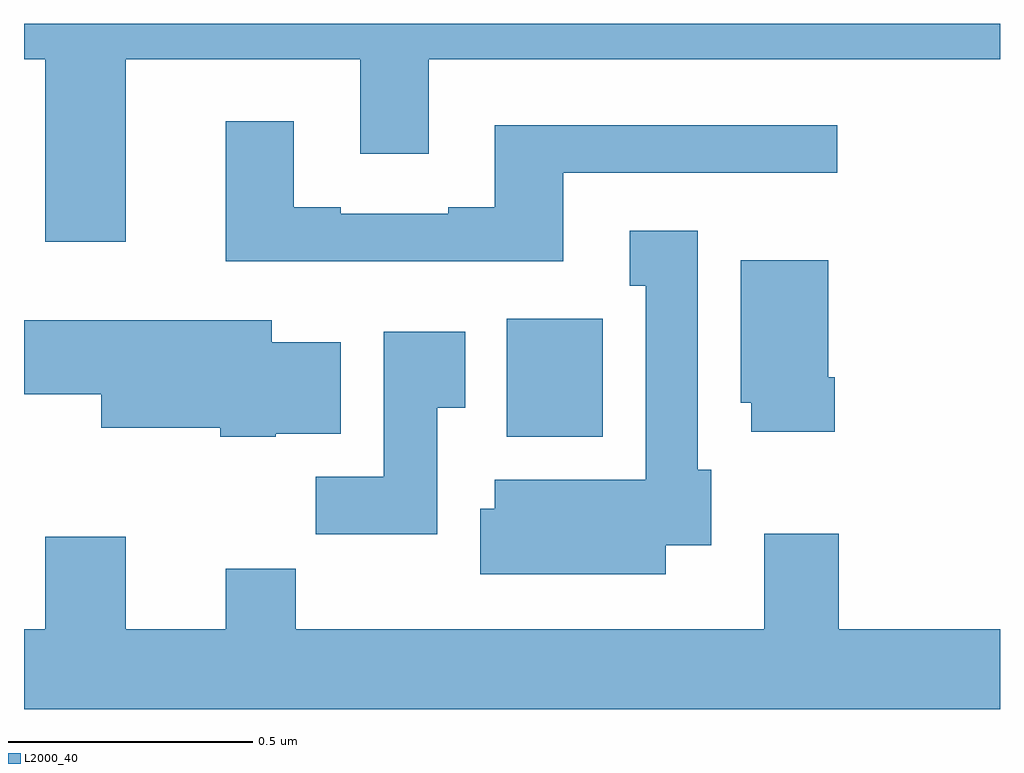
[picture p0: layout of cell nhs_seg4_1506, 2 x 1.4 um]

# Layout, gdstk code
import gdstk
lib = gdstk.Library(unit=1e-6, precision=1e-09)
def R(c, l, rs):  # rectangles x0, y0, x1, y1
    for r in rs: c.add(gdstk.rectangle(r[:2], r[2:], *l))
def P(c, l, *ps):  # polygons
    for p in ps: c.add(gdstk.Polygon(p, *l))
L2000_40 = (2000, 40)

nhs_seg4_1506 = lib.new_cell('nhs_seg4_1506')
R(nhs_seg4_1506, L2000_40, [(129.989,788.054,130.186,788.296)])
P(nhs_seg4_1506, L2000_40, [(129.208,788.828),(129.689,788.828),(129.689,788.634),(129.829,788.634),(129.829,788.828),(131,788.828),(131,788.9),(129,788.9),(129,788.828),(129.044,788.828),(129.044,788.454),(129.208,788.454)],
  [(130.105,788.595),(130.666,788.595),(130.666,788.692),(129.965,788.692),(129.965,788.524),(129.869,788.524),(129.869,788.511),(129.649,788.511),(129.649,788.524),(129.553,788.524),(129.553,788.701),(129.413,788.701),(129.413,788.414),(130.105,788.414)],
  [(130.315,787.832),(130.408,787.832),(130.408,787.986),(130.381,787.986),(130.381,788.476),(130.241,788.476),(130.241,788.363),(130.274,788.363),(130.274,787.966),(129.965,787.966),(129.965,787.907),(129.935,787.907),(129.935,787.772),(130.315,787.772)],
  [(130.661,788.176),(130.648,788.176),(130.648,788.416),(130.469,788.416),(130.469,788.124),(130.49,788.124),(130.49,788.064),(130.661,788.064)],
  [(129.516,788.06),(129.649,788.06),(129.649,788.248),(129.508,788.248),(129.508,788.293),(129,788.293),(129,788.141),(129.158,788.141),(129.158,788.072),(129.402,788.072),(129.402,788.054),(129.516,788.054)],
  [(129.847,788.113),(129.904,788.113),(129.904,788.269),(129.737,788.269),(129.737,787.972),(129.598,787.972),(129.598,787.854),(129.847,787.854)],
  [(131,787.66),(130.67,787.66),(130.67,787.855),(130.517,787.855),(130.517,787.66),(129.557,787.66),(129.557,787.784),(129.413,787.784),(129.413,787.66),(129.208,787.66),(129.208,787.849),(129.044,787.849),(129.044,787.66),(129,787.66),(129,787.496),(131,787.496)])

lib.write_gds('nhs_seg4_1506.gds')
